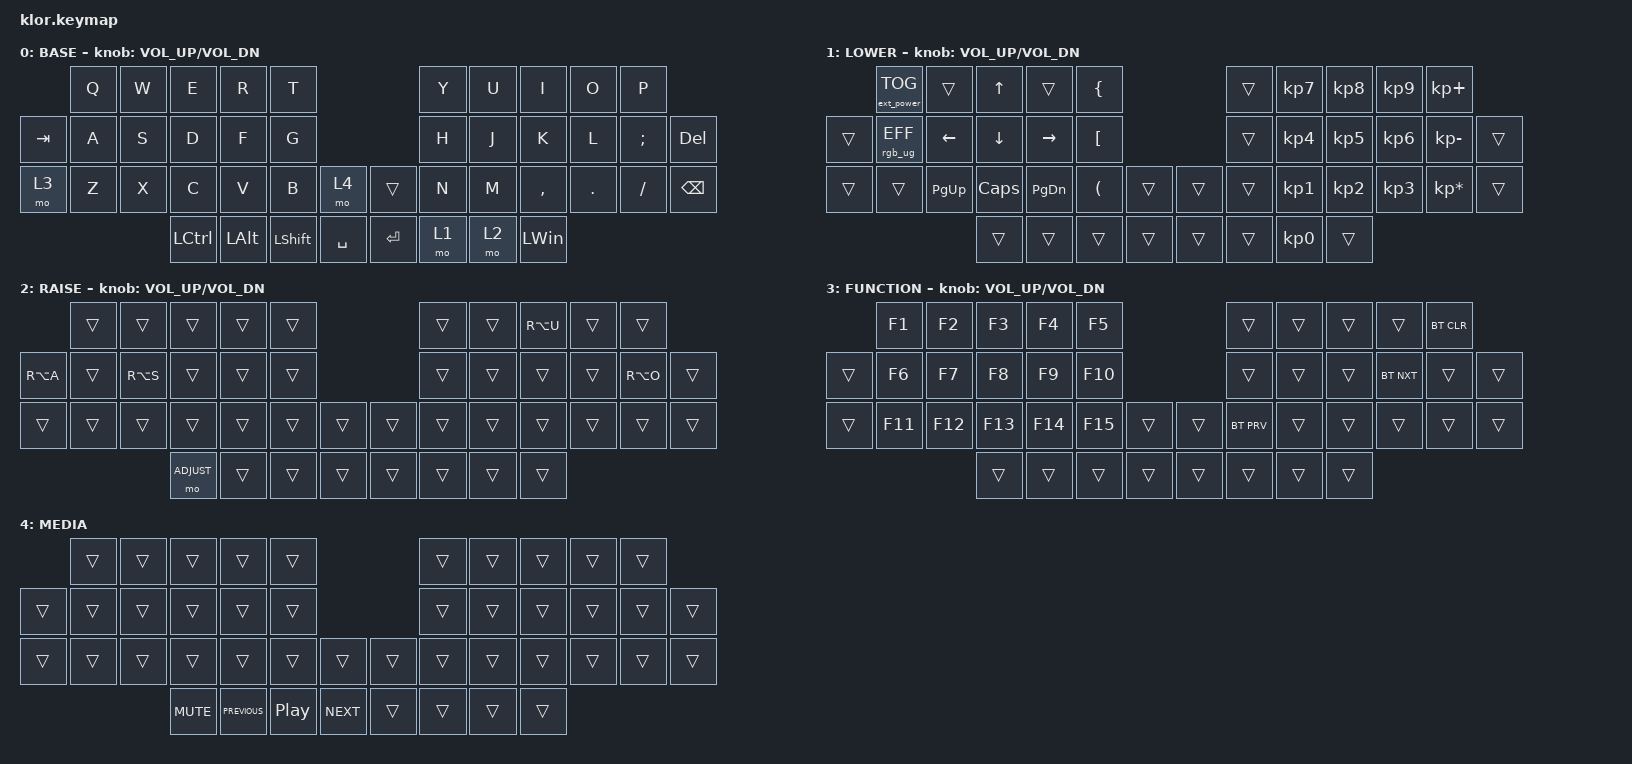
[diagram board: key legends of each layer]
//                               █         █    █            ▄▄▄▀▀▀▀▀▀▄▄▄        █▀▀▀▀▀▀▀▀▀▀█
//                               █        █     █          ▄▀            ▀▄      █          █
//                               █       █      █        ▄▀                ▀▄    █          █
//                               █      █       █        █                  █    █          █
//                               █     █        █       █                    █   █          █
//                               █    █         █       █                    █   █▄▄▄▄▄▄▄▄▄▄█
//                               █   █ █        █       █                    █   █      █
//                               █  █   █       █        █                  █    █       █
//                               █ █     █      █        ▀▄                ▄▀    █        █
//                               ██       █     █          ▀▄            ▄▀      █         █
//                               █         █    █▄▄▄▄▄▄▄▄    ▀▀▀▄▄▄▄▄▄▀▀▀        █          █
//
// ▄▄▄▄▄▄▄▄▄▄▄▄▄▄▄▄▄▄▄▄▄▄▄▄▄▄▄▄▄▄▄▄▄▄▄▄▄▄▄▄▄▄▄▄▄▄▄▄▄▄▄▄▄▄▄▄▄▄▄▄▄▄▄▄▄▄▄▄▄▄▄▄▄▄▄▄▄▄▄▄▄▄▄▄▄▄▄▄▄▄▄▄▄▄▄▄▄▄▄▄▄▄▄▄▄▄▄▄▄▄▄▄▄▄▄▄▄▄▄▄▄▄▄▄▄

#include <behaviors.dtsi>
#include <dt-bindings/zmk/bt.h>
#include <dt-bindings/zmk/ext_power.h>
#include <dt-bindings/zmk/keys.h>
#include <dt-bindings/zmk/rgb.h>

#define BASE   0
#define LOWER  1
#define RAISE  2
#define ADJUST 3

/ {
    behaviors {
        hm: homerow_mods {
            compatible = "zmk,behavior-hold-tap";
            label = "HOMEROW_MODS";
            #binding-cells = <2>;
            tapping-term-ms = <150>;
            quick_tap_ms = <0>;
            flavor = "tap-preferred";
            bindings = <&kp>, <&kp>;
        };
    };

    combos {
        compatible = "zmk,combos";

        combo_esc {
            timeout-ms = <50>;
            key-positions = <0 1>;
            bindings = <&kp ESC>;
        };
    };

    keymap {
        compatible = "zmk,keymap";

        // ▄▄▄▄▄▄▄▄▄▄▄▄▄▄▄▄▄▄▄▄▄▄▄▄▄▄▄▄▄▄▄▄▄▄▄▄▄▄▄▄▄▄▄▄▄▄▄▄▄▄▄▄▄▄▄▄▄▄▄▄▄▄▄▄▄▄▄▄▄▄▄▄▄▄▄▄▄▄▄▄▄▄▄▄▄▄▄▄▄▄▄▄▄▄▄▄▄▄▄▄▄▄▄▄▄▄▄▄▄▄▄▄▄▄▄▄▄▄▄▄▄▄▄▄▄▄▄▄▄▄▄▄▄▄▄▄▄▄▄▄▄▄

        base_layer {
            // ┌───────────────────────────────────────────────────────────┐

            label = "BASE";

            // └───────────────────────────────────────────────────────────┘
            /*           ┌─────────┬─────────┬─────────┬─────────┬─────────┐                    ┌─────────┬─────────┬─────────┬─────────┬─────────┐
             │    Q    │    W    │    F    │    P    │    G    │                    │    J    │    L    │    U    │    Y    │    ;    │   
   ┌─────────┼─────────┼─────────┼─────────┼─────────┼─────────┤                    ├─────────┼─────────┼─────────┼─────────┼─────────┼─────────┐
   │   TAB   │    A    │    R    │    S    │    T    │    D    │                    │    H    │    N    │    E    │    I    │    O    │    "    │
   ├─────────┼─────────┼─────────┼─────────┼─────────┼─────────┤╭────────╮╭────────╮├─────────┼─────────┼─────────┼─────────┼─────────┼─────────┤
   │   DEL   │    Z    │    X    │    C    │    V    │    B    ││  MUTE  ││PLY/PSE ││    K    │    M    │    ,    │    .    │    /    │    \    │
   └─────────┴─────────┴─────────┼─────────┼─────────┼─────────┼╰────────╯╰────────╯┼─────────┼─────────┼─────────┼─────────┴─────────┴─────────┘
                                 │  CTRL   │  LOWER  │  SPACE  │   ALT   ││ CMD/WIN │  ENTER  │  RAISE  │  BSPCE  │  
                                 └─────────┴─────────┴─────────┴─────────┘└─────────┴─────────┴─────────┴─────────┘ */

            bindings = <
         &kp Q  &kp W  &kp E      &kp R         &kp T                              &kp Y  &kp U  &kp I      &kp O    &kp P
&kp TAB  &kp A  &kp S  &kp D      &kp F         &kp G                              &kp H  &kp J  &kp K      &kp L    &kp SEMICOLON  &kp DELETE
&mo 3    &kp Z  &kp X  &kp C      &kp V         &kp B       &mo 4      &trans      &kp N  &kp M  &kp COMMA  &kp DOT  &kp FSLH       &kp BACKSPACE
                       &kp LCTRL  &kp LEFT_ALT  &kp LSHIFT  &kp SPACE  &kp RETURN  &mo 1  &mo 2  &kp LWIN
            >;

            sensor-bindings = <&inc_dec_kp C_VOL_UP C_VOL_DN>;
        };

        // ▄▄▄▄▄▄▄▄▄▄▄▄▄▄▄▄▄▄▄▄▄▄▄▄▄▄▄▄▄▄▄▄▄▄▄▄▄▄▄▄▄▄▄▄▄▄▄▄▄▄▄▄▄▄▄▄▄▄▄▄▄▄▄▄▄▄▄▄▄▄▄▄▄▄▄▄▄▄▄▄▄▄▄▄▄▄▄▄▄▄▄▄▄▄▄▄▄▄▄▄▄▄▄▄▄▄▄▄▄▄▄▄▄▄▄▄▄▄▄▄▄▄▄▄▄▄▄▄▄▄▄▄▄▄▄▄▄▄▄▄▄▄

        lower_layer {
            // ┌───────────────────────────────────────────────────────────┐

            label = "LOWER";

            // └───────────────────────────────────────────────────────────┘
            /*           ┌─────────┬─────────┬─────────┬─────────┬─────────┐                    ┌─────────┬─────────┬─────────┬─────────┬─────────┐
             │         │         │    UP   │         │    {    │                    │    }    │    7    │    8    │    9    │    +    │
   ┌─────────┼─────────┼─────────┼─────────┼─────────┼─────────┤                    ├─────────┼─────────┼─────────┼─────────┼─────────┼─────────┐
   │         │         │   LEFT  │  DOWN   │  RIGHT  │    [    │                    │    ]    │    4    │    5    │    6    │    -    │         │
   ├─────────┼─────────┼─────────┼─────────┼─────────┼─────────┤╭────────╮╭────────╮├─────────┼─────────┼─────────┼─────────┼─────────┼─────────┤
   │         │         │   P UP  │ C LOCK  │ P DOWN  │    (    ││        ││        ││    )    │    1    │    2    │    3    │    *    │         │
   └─────────┴─────────┴─────────┼─────────┼─────────┼─────────┼╰────────╯╰────────╯┼─────────┼─────────┼─────────┼─────────┴─────────┴─────────┘
                                 │         │         │         │         ││         │         │    0    │         │  
                                 └─────────┴─────────┴─────────┴─────────┘└─────────┴─────────┴─────────┴─────────┘ */

            bindings = <
        &ext_power EP_TOG  &trans     &kp UP    &trans     &kp LBRC                  &trans  &kp KP_N7  &kp KP_N8  &kp KP_N9  &kp KP_PLUS
&trans  &rgb_ug RGB_EFF    &kp LEFT   &kp DOWN  &kp RIGHT  &kp LBKT                  &trans  &kp KP_N4  &kp KP_N5  &kp KP_N6  &kp KP_MINUS     &trans
&trans  &trans             &kp PG_UP  &kp CAPS  &kp PG_DN  &kp LPAR  &trans  &trans  &trans  &kp KP_N1  &kp KP_N2  &kp KP_N3  &kp KP_MULTIPLY  &trans
                                      &trans    &trans     &trans    &trans  &trans  &trans  &kp KP_N0  &trans
            >;

            sensor-bindings = <&inc_dec_kp C_VOL_UP C_VOL_DN>;
        };

        // ▄▄▄▄▄▄▄▄▄▄▄▄▄▄▄▄▄▄▄▄▄▄▄▄▄▄▄▄▄▄▄▄▄▄▄▄▄▄▄▄▄▄▄▄▄▄▄▄▄▄▄▄▄▄▄▄▄▄▄▄▄▄▄▄▄▄▄▄▄▄▄▄▄▄▄▄▄▄▄▄▄▄▄▄▄▄▄▄▄▄▄▄▄▄▄▄▄▄▄▄▄▄▄▄▄▄▄▄▄▄▄▄▄▄▄▄▄▄▄▄▄▄▄▄▄

        raise_layer {
            // ┌───────────────────────────────────────────────────────────┐

            label = "RAISE";

            // └───────────────────────────────────────────────────────────┘
            /*           ┌─────────┬─────────┬─────────┬─────────┬─────────┐                    ┌─────────┬─────────┬─────────┬─────────┬─────────┐
             │         │         │         │         │         │                    │         │         │    Ü    │         │         │
   ┌─────────┼─────────┼─────────┼─────────┼─────────┼─────────┤                    ├─────────┼─────────┼─────────┼─────────┼─────────┼─────────┐
   │    Ä    │         │    ß    │         │         │         │                    │         │         │         │         │    Ö    │         │
   ├─────────┼─────────┼─────────┼─────────┼─────────┼─────────┤╭────────╮╭────────╮├─────────┼─────────┼─────────┼─────────┼─────────┼─────────┤
   │         │         │         │         │         │         ││        ││        ││         │         │         │         │         │         │
   └─────────┴─────────┴─────────┼─────────┼─────────┼─────────┼╰────────╯╰────────╯┼─────────┼─────────┼─────────┼─────────┴─────────┴─────────┘
                                 │ ADJUST  │         │         │         ││         │         │         │         │  
                                 └─────────┴─────────┴─────────┴─────────┘└─────────┴─────────┴─────────┴─────────┘ */

            bindings = <
           &trans  &trans     &trans      &trans  &trans                  &trans  &trans  &kp RA(U)  &trans  &trans
&kp RA(A)  &trans  &kp RA(S)  &trans      &trans  &trans                  &trans  &trans  &trans     &trans  &kp RA(O)  &trans
&trans     &trans  &trans     &trans      &trans  &trans  &trans  &trans  &trans  &trans  &trans     &trans  &trans     &trans
                              &mo ADJUST  &trans  &trans  &trans  &trans  &trans  &trans  &trans
            >;

            sensor-bindings = <&inc_dec_kp C_VOL_UP C_VOL_DN>;
        };

        // ▄▄▄▄▄▄▄▄▄▄▄▄▄▄▄▄▄▄▄▄▄▄▄▄▄▄▄▄▄▄▄▄▄▄▄▄▄▄▄▄▄▄▄▄▄▄▄▄▄▄▄▄▄▄▄▄▄▄▄▄▄▄▄▄▄▄▄▄▄▄▄▄▄▄▄▄▄▄▄▄▄▄▄▄▄▄▄▄▄▄▄▄▄▄▄▄▄▄▄▄▄▄▄▄▄▄▄▄▄▄▄▄▄▄▄▄▄▄▄▄▄▄▄▄▄

        function_layer {
            // ┌───────────────────────────────────────────────────────────┐

            label = "FUNCTION";

            // └───────────────────────────────────────────────────────────┘
            /*           ┌─────────┬─────────┬─────────┬─────────┬─────────┐                    ┌─────────┬─────────┬─────────┬─────────┬─────────┐
             │         │         │         │         │         │                    │         │         │         │         │         │
   ┌─────────┼─────────┼─────────┼─────────┼─────────┼─────────┤                    ├─────────┼─────────┼─────────┼─────────┼─────────┼─────────┐
   │         │         │         │         │         │         │                    │         │         │         │         │         │         │
   ├─────────┼─────────┼─────────┼─────────┼─────────┼─────────┤╭────────╮╭────────╮├─────────┼─────────┼─────────┼─────────┼─────────┼─────────┤
   │         │         │         │         │         │         ││        ││        ││         │         │         │         │         │         │
   └─────────┴─────────┴─────────┼─────────┼─────────┼─────────┼╰────────╯╰────────╯┼─────────┼─────────┼─────────┼─────────┴─────────┴─────────┘
                                 │         │         │         │         ││         │         │         │         │  
                                 └─────────┴─────────┴─────────┴─────────┘└─────────┴─────────┴─────────┴─────────┘ */

            bindings = <
        &kp F1   &kp F2   &kp F3   &kp F4   &kp F5                   &trans      &trans  &trans  &trans      &bt BT_CLR
&trans  &kp F6   &kp F7   &kp F8   &kp F9   &kp F10                  &trans      &trans  &trans  &bt BT_NXT  &trans      &trans
&trans  &kp F11  &kp F12  &kp F13  &kp F14  &kp F15  &trans  &trans  &bt BT_PRV  &trans  &trans  &trans      &trans      &trans
                          &trans   &trans   &trans   &trans  &trans  &trans      &trans  &trans
            >;

            sensor-bindings = <&inc_dec_kp C_VOL_UP C_VOL_DN>;
        };

        media {
            bindings = <
        &trans  &trans  &trans      &trans          &trans                                &trans  &trans  &trans  &trans  &trans
&trans  &trans  &trans  &trans      &trans          &trans                                &trans  &trans  &trans  &trans  &trans  &trans
&trans  &trans  &trans  &trans      &trans          &trans            &trans      &trans  &trans  &trans  &trans  &trans  &trans  &trans
                        &kp C_MUTE  &kp C_PREVIOUS  &kp C_PLAY_PAUSE  &kp C_NEXT  &trans  &trans  &trans  &trans
            >;

            label = "MEDIA";
        };
    };
};
